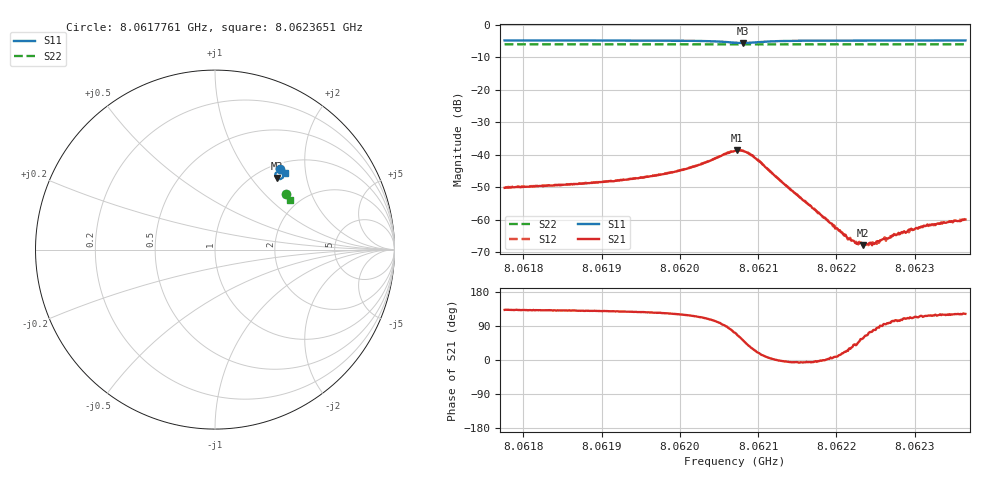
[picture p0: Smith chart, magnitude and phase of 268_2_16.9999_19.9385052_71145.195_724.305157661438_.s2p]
#  HZ  S  RI  R  50.00
! Rohde & Schwarz Vector Network Analyzer
! Rohde-Schwarz,ZNB20-2Port,1311601062101988,3.16
! Created: UTC 3/20/2024, 11:04:04 PM
! freq[Hz]  re:S11  im:S11  re:S21  im:S21  re:S12  im:S12  re:S22  im:S22
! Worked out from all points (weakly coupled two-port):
!   401 points, 8.0617761 GHz to 8.0623651 GHz, reference 50 ohm
!   highest |S21| = -38.66 dB at 8.0620735 GHz (marker M1); lowest = -68.0 dB at 8.062234 GHz (marker M2)
!   lowest |S11| = -5.6 dB at 8.0620809 GHz (marker M3), VSWR 3.22, Z = 61.3 + j67.6 ohm
!   |S11| at or under -10 dB: nowhere
!   |S22| runs from -6.0 to -6.0 dB; largest |S21 - S12| = 0.00089
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8.06177605e9  0.3627 0.4474  -0.00207 0.00228  -0.00201 0.00246  0.3976 0.3081
8.06187471e9  0.3696 0.4412  -0.00231 0.00272  -0.00218 0.00287  0.4013 0.3029
8.06191741e9  0.3729 0.4378  -0.00244 0.00311  -0.00229 0.00327  0.4028 0.3007
8.06197337e9  0.378 0.4315  -0.00277 0.00402  -0.00252 0.00425  0.405 0.2978
8.06201902e9  0.3821 0.4209  -0.00285 0.00596  -0.00253 0.00618  0.4064 0.2952
8.06207055e9  0.3593 0.3928  0.00359 0.0109  0.00445 0.0107  0.4066 0.292
8.0620735e9  0.3546 0.3932  0.00479 0.0106  0.00541 0.0105  0.4065 0.2918
8.06208086e9  0.3435 0.3988  0.007 0.00897  0.00772 0.00866  0.4063 0.2918
8.0620897e9  0.3364 0.4114  0.00826 0.00582  0.00876 0.00543  0.4064 0.2921
8.06210148e9  0.3385 0.4267  0.00743 0.00242  0.00784 0.00191  0.4072 0.2923
8.06213093e9  0.3553 0.4391  0.00374 -0.000173  0.00377 -0.000401  0.409 0.2911
8.06216921e9  0.3673 0.4385  0.00151 -0.00014  0.00154 -0.000246  0.4109 0.2891
8.06221633e9  0.3748 0.4352  0.000433 0.000256  0.000464 0.000216  0.4127 0.2866
8.06222517e9  0.3758 0.4346  0.000336 0.00027  0.000357 0.000285  0.4129 0.2861
8.062234e9  0.3769 0.4342  0.000218 0.000334  0.000263 0.000294  0.4133 0.2856
8.06224136e9  0.3776 0.4335  0.000137 0.000404  0.000156 0.000374  0.4136 0.2852
8.06224725e9  0.3783 0.4333  8.18e-05 0.000424  0.000131 0.000456  0.4137 0.285
8.06225314e9  0.3789 0.4328  3.47e-05 0.000464  9.39e-05 0.000432  0.4142 0.2846
8.06226787e9  0.3802 0.4321  -7.62e-05 0.000522  -6.42e-05 0.000542  0.4145 0.2838
8.06229437e9  0.3824 0.4304  -0.000274 0.000654  -0.000223 0.000639  0.4154 0.2824
8.06231352e9  0.3839 0.4293  -0.000352 0.00071  -0.000323 0.000734  0.416 0.2815
8.06236505e9  0.3875 0.4263  -0.000528 0.000854  -0.000473 0.000908  0.4178 0.2787
